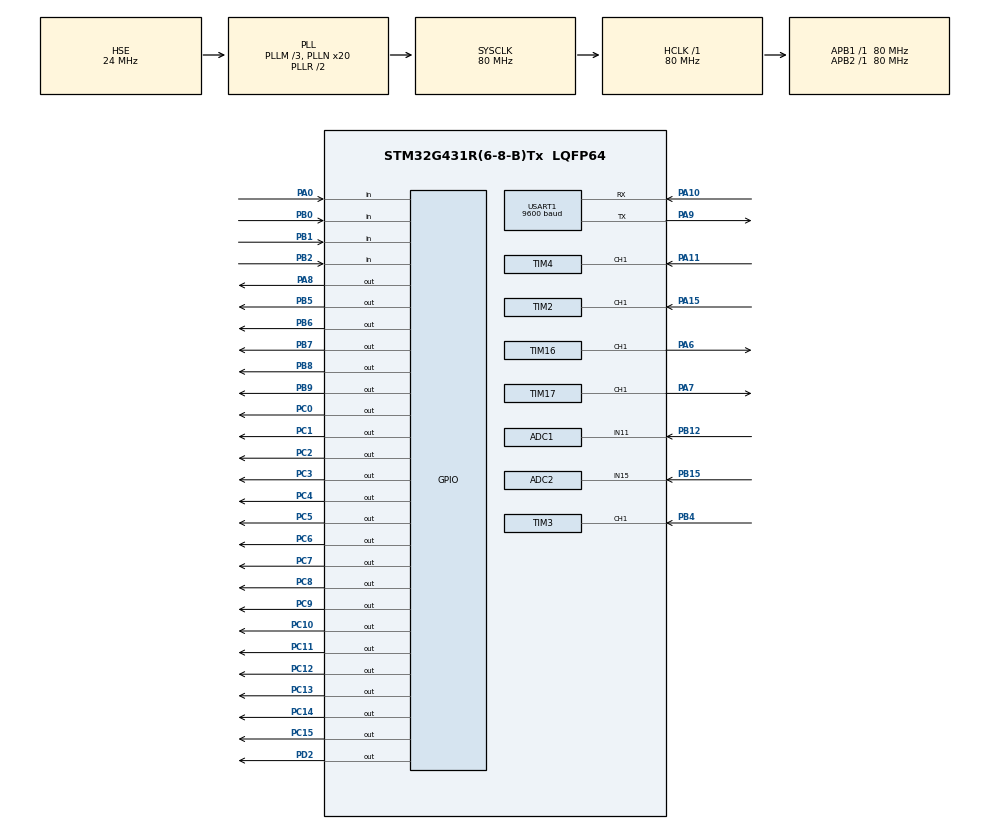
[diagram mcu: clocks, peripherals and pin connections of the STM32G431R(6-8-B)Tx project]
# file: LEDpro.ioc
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ADC1.Channel-2\#ChannelRegularConversion=ADC_CHANNEL_11
ADC1.NbrOfConversionFlag=1
ADC1.OffsetNumber-2\#ChannelRegularConversion=ADC_OFFSET_NONE
ADC1.Rank-2\#ChannelRegularConversion=1
ADC1.SamplingTime-2\#ChannelRegularConversion=ADC_SAMPLETIME_2CYCLES_5
ADC1.master=1
ADC2.Channel-1\#ChannelRegularConversion=ADC_CHANNEL_15
ADC2.NbrOfConversionFlag=1
ADC2.OffsetNumber-1\#ChannelRegularConversion=ADC_OFFSET_NONE
ADC2.Rank-1\#ChannelRegularConversion=1
ADC2.SamplingTime-1\#ChannelRegularConversion=ADC_SAMPLETIME_2CYCLES_5
Mcu.Family=STM32G4
Mcu.Name=STM32G431R(6-8-B)Tx
Mcu.Package=LQFP64
NVIC.PriorityGroup=NVIC_PRIORITYGROUP_4
NVIC.TIM2_IRQn=true\:0\:0\:false\:false\:true\:true\:true\:true
NVIC.TIM3_IRQn=true\:0\:0\:false\:false\:true\:true\:true\:true
NVIC.TIM4_IRQn=true\:0\:0\:false\:false\:true\:true\:true\:true
NVIC.USART1_IRQn=true\:0\:0\:false\:false\:true\:true\:true\:true
PA0.GPIO_PuPd=GPIO_PULLUP
PA0.Signal=GPIO_Input
PA10.Mode=Asynchronous
PA10.Signal=USART1_RX
PA11.Signal=S_TIM4_CH1
PA13.Mode=Serial_Wire
PA13.Signal=SYS_JTMS-SWDIO
PA14.Mode=Serial_Wire
PA14.Signal=SYS_JTCK-SWCLK
PA15.Signal=S_TIM2_CH1
PA6.Signal=S_TIM16_CH1
PA7.Signal=S_TIM17_CH1
PA8.Signal=GPIO_Output
PA9.Mode=Asynchronous
PA9.Signal=USART1_TX
PB0.GPIO_PuPd=GPIO_PULLUP
PB0.Signal=GPIO_Input
PB1.GPIO_PuPd=GPIO_PULLUP
PB1.Signal=GPIO_Input
PB12.Mode=IN11-Single-Ended
PB12.Signal=ADC1_IN11
PB15.Mode=IN15-Single-Ended
PB15.Signal=ADC2_IN15
PB2.GPIO_PuPd=GPIO_PULLUP
PB2.Signal=GPIO_Input
PB4.Signal=S_TIM3_CH1
PB5.Signal=GPIO_Output
PB6.Signal=GPIO_Output
PB7.Signal=GPIO_Output
PB8-BOOT0.Signal=GPIO_Output
PB9.Signal=GPIO_Output
PC0.Signal=GPIO_Output
PC1.Signal=GPIO_Output
PC10.PinState=GPIO_PIN_SET
PC10.Signal=GPIO_Output
PC11.PinState=GPIO_PIN_SET
PC11.Signal=GPIO_Output
PC12.PinState=GPIO_PIN_SET
PC12.Signal=GPIO_Output
PC13.PinState=GPIO_PIN_SET
PC13.Signal=GPIO_Output
PC14-OSC32_IN.PinState=GPIO_PIN_SET
PC14-OSC32_IN.Signal=GPIO_Output
PC15-OSC32_OUT.PinState=GPIO_PIN_SET
PC15-OSC32_OUT.Signal=GPIO_Output
PC2.Signal=GPIO_Output
PC3.Signal=GPIO_Output
PC4.Signal=GPIO_Output
PC5.Signal=GPIO_Output
PC6.Signal=GPIO_Output
PC7.Signal=GPIO_Output
PC8.PinState=GPIO_PIN_SET
PC8.Signal=GPIO_Output
PC9.PinState=GPIO_PIN_SET
PC9.Signal=GPIO_Output
PD2.Signal=GPIO_Output
PF0-OSC_IN.Mode=HSE-External-Oscillator
PF0-OSC_IN.Signal=RCC_OSC_IN
PF1-OSC_OUT.Mode=HSE-External-Oscillator
PF1-OSC_OUT.Signal=RCC_OSC_OUT
ProjectManager.HeapSize=0x200
ProjectManager.StackSize=0x400
ProjectManager.TargetToolchain=MDK-ARM V5.32
RCC.ADC12Freq_Value=80000000
RCC.AHBFreq_Value=80000000
RCC.APB1Freq_Value=80000000
RCC.APB1TimFreq_Value=80000000
RCC.APB2Freq_Value=80000000
RCC.APB2TimFreq_Value=80000000
RCC.CortexFreq_Value=80000000
RCC.EXTERNAL_CLOCK_VALUE=12288000
RCC.HCLKFreq_Value=80000000
RCC.HSE_VALUE=24000000
RCC.HSI48_VALUE=48000000
RCC.HSI_VALUE=16000000
RCC.LSE_VALUE=32768
RCC.PLLM=RCC_PLLM_DIV3
RCC.PLLN=20
RCC.PLLSourceVirtual=RCC_PLLSOURCE_HSE
RCC.SYSCLKFreq_VALUE=80000000
RCC.SYSCLKSource=RCC_SYSCLKSOURCE_PLLCLK
RCC.USBFreq_Value=80000000
RCC.VCOOutputFreq_Value=160000000
SH.S_TIM16_CH1.0=TIM16_CH1,PWM Generation1 CH1
SH.S_TIM17_CH1.0=TIM17_CH1,PWM Generation1 CH1
SH.S_TIM2_CH1.0=TIM2_CH1,Input_Capture1_from_TI1
SH.S_TIM3_CH1.0=TIM3_CH1,Input_Capture1_from_TI1
SH.S_TIM4_CH1.0=TIM4_CH1,Input_Capture1_from_TI1
TIM16.Channel=TIM_CHANNEL_1
TIM16.PeriodNoDither=100-1
TIM16.Prescaler=8000-1
TIM17.Channel=TIM_CHANNEL_1
TIM17.PeriodNoDither=100-1
TIM17.Prescaler=4000-1
TIM2.Channel-Input_Capture1_from_TI1=TIM_CHANNEL_1
TIM2.Channel-Input_Capture2_from_TI1_63=TIM_CHANNEL_2
TIM2.ICPolarity_CH1=TIM_INPUTCHANNELPOLARITY_FALLING
TIM2.Prescaler=80-1
TIM3.Channel-Input_Capture1_from_TI1=TIM_CHANNEL_1
TIM3.Channel-Input_Capture2_from_TI1_63=TIM_CHANNEL_2
TIM3.ICPolarity_CH2=TIM_INPUTCHANNELPOLARITY_FALLING
TIM3.PeriodNoDither=10000-1
TIM3.Prescaler=80-1
TIM4.Channel-Input_Capture1_from_TI1=TIM_CHANNEL_1
TIM4.Channel-Input_Capture2_from_TI1_63=TIM_CHANNEL_2
TIM4.PeriodNoDither=10000-1
TIM4.Prescaler=80-1
USART1.BaudRate=9600
USART1.VirtualMode-Asynchronous=VM_ASYNC
VP_SYS_VS_DBSignals.Mode=DisableDeadBatterySignals
VP_TIM16_VS_ClockSourceINT.Mode=Enable_Timer
VP_TIM17_VS_ClockSourceINT.Mode=Enable_Timer
VP_TIM2_VS_ClockSourceINT.Mode=Internal
VP_TIM2_VS_indirect_ch1.Mode=Input_Capture2_from_TI1_63
VP_TIM3_VS_ClockSourceINT.Mode=Internal
VP_TIM3_VS_indirect_ch1.Mode=Input_Capture2_from_TI1_63
VP_TIM4_VS_ClockSourceINT.Mode=Internal
VP_TIM4_VS_indirect_ch1.Mode=Input_Capture2_from_TI1_63
board=custom

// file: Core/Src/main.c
/* USER CODE BEGIN Header */
/**
  ******************************************************************************
  * @file           : main.c
  * @brief          : Main program body
  ******************************************************************************
  * @attention
  *
  * Copyright (c) 2023 STMicroelectronics.
  * All rights reserved.
  *
  * This software is licensed under terms that can be found in the LICENSE file
  * in the root directory of this software component.
  * If no LICENSE file comes with this software, it is provided AS-IS.
  *
  ******************************************************************************
  */
/* USER CODE END Header */
#include "main.h"
#include "adc.h"
#include "tim.h"
#include "usart.h"
#include "gpio.h"

/* USER CODE BEGIN Includes */
#include "led.h"
#include "lcd.h"
#include "stdio.h"
#include "interrupt.h"
#include "bacd.h"
#include "i2c - hal.h"
#include "string.h"
/* USER CODE END Includes */

/* USER CODE BEGIN PTD */
extern struct keys key[];
extern uint frq1, frq2;
extern uint frp;
extern float duty1,duty2;
extern char rxdata[30];
extern uint8_t rxdat;
extern uchar rx_pointer;

void disp_proc(void);
void key_proc(void);;
void uart_rx_proc();
uchar view=0;
uchar V=3;
uchar pa6_duty=10;
uchar pa7_duty=10;
char car_type[5];
char car_data[5];
char car_time[12];
/* USER CODE END PTD */

void SystemClock_Config(void);
/* USER CODE BEGIN PFP */
void SystemClock_Config(void);
/* USER CODE END PFP */

int main(void)
{

  /* MCU Configuration--------------------------------------------------------*/

  /* Reset of all peripherals, Initializes the Flash interface and the Systick. */
  HAL_Init();

  /* Configure the system clock */
  SystemClock_Config();

  /* Initialize all configured peripherals */
  MX_GPIO_Init();
  MX_TIM3_Init();
  MX_ADC1_Init();
  MX_ADC2_Init();
  MX_USART1_UART_Init();
  MX_TIM16_Init();
  MX_TIM17_Init();
  MX_TIM2_Init();
  MX_TIM4_Init();
  /* USER CODE BEGIN 2 */
	LED_Disp(0X00);
	HAL_UART_Receive_IT(&huart1,&rxdat,1);
	LCD_Init();
	LCD_Clear(Black);
	LCD_SetBackColor(Black);
	LCD_SetTextColor(White);

	HAL_TIM_Base_Start_IT(&htim4);
	HAL_TIM_PWM_Start(&htim16,TIM_CHANNEL_1);
	HAL_TIM_PWM_Start(&htim17,TIM_CHANNEL_1);
	HAL_TIM_PWM_Start(&htim16,TIM_CHANNEL_2);
	HAL_TIM_PWM_Start(&htim17,TIM_CHANNEL_2);
	HAL_TIM_IC_Start_IT(&htim2,TIM_CHANNEL_1);
	HAL_TIM_IC_Start_IT(&htim3,TIM_CHANNEL_1);
	HAL_TIM_IC_Start_IT(&htim2,TIM_CHANNEL_2);
	HAL_TIM_IC_Start_IT(&htim3,TIM_CHANNEL_2);
	HAL_TIM_IC_Start_IT(&htim4,TIM_CHANNEL_1);
	HAL_TIM_IC_Start_IT(&htim4,TIM_CHANNEL_2);
	__HAL_TIM_SetCompare(&htim16,TIM_CHANNEL_1,pa6_duty);//设置初始pwm频率
	__HAL_TIM_SetCompare(&htim17,TIM_CHANNEL_1,pa7_duty);
  /* USER CODE END 2 */

  /* Infinite loop */
  while (1)
  {

    /* USER CODE BEGIN 3 */
	  key_proc();
		disp_proc();
		if (rx_pointer!=0)
		{
			int temp=rx_pointer;
			HAL_Delay(1);
			if (temp==rx_pointer)
			{
				uart_rx_proc();
			}

		}//防止接受不完整；

//		LED_Disp(0X00);
//		HAL_Delay(800);
//		LED_Disp(0XFF);
//		HAL_Delay(800);
//		LED_Disp(0X7F);
//		HAL_Delay(800);
//		LED_Disp(0X3F);
//		HAL_Delay(800);
//		LED_Disp(0X1F);z
//		HAL_Delay(800);
//		LED_Disp(0X0F);
//		HAL_Delay(800);
//		LED_Disp(0X07);
//		HAL_Delay(800);
//		LED_Disp(0X03);
//		HAL_Delay(800);
//		LED_Disp(0X01);
//		HAL_Delay(800);
	}

  /* USER CODE END 3 */
}

void SystemClock_Config(void)
{
  RCC_OscInitTypeDef RCC_OscInitStruct = {0};
  RCC_ClkInitTypeDef RCC_ClkInitStruct = {0};

  /** Configure the main internal regulator output voltage
  */
  HAL_PWREx_ControlVoltageScaling(PWR_REGULATOR_VOLTAGE_SCALE1);

  /** Initializes the RCC Oscillators according to the specified parameters
  * in the RCC_OscInitTypeDef structure.
  */
  RCC_OscInitStruct.OscillatorType = RCC_OSCILLATORTYPE_HSE;
  RCC_OscInitStruct.HSEState = RCC_HSE_ON;
  RCC_OscInitStruct.PLL.PLLState = RCC_PLL_ON;
  RCC_OscInitStruct.PLL.PLLSource = RCC_PLLSOURCE_HSE;
  RCC_OscInitStruct.PLL.PLLM = RCC_PLLM_DIV3;
  RCC_OscInitStruct.PLL.PLLN = 20;
  RCC_OscInitStruct.PLL.PLLP = RCC_PLLP_DIV2;
  RCC_OscInitStruct.PLL.PLLQ = RCC_PLLQ_DIV2;
  RCC_OscInitStruct.PLL.PLLR = RCC_PLLR_DIV2;
  if (HAL_RCC_OscConfig(&RCC_OscInitStruct) != HAL_OK)
  {
    Error_Handler();
  }

  /** Initializes the CPU, AHB and APB buses clocks
  */
  RCC_ClkInitStruct.ClockType = RCC_CLOCKTYPE_HCLK|RCC_CLOCKTYPE_SYSCLK
                              |RCC_CLOCKTYPE_PCLK1|RCC_CLOCKTYPE_PCLK2;
  RCC_ClkInitStruct.SYSCLKSource = RCC_SYSCLKSOURCE_PLLCLK;
  RCC_ClkInitStruct.AHBCLKDivider = RCC_SYSCLK_DIV1;
  RCC_ClkInitStruct.APB1CLKDivider = RCC_HCLK_DIV1;
  RCC_ClkInitStruct.APB2CLKDivider = RCC_HCLK_DIV1;

  if (HAL_RCC_ClockConfig(&RCC_ClkInitStruct, FLASH_LATENCY_2) != HAL_OK)
  {
    Error_Handler();
  }
}

/* USER CODE BEGIN 4 */

void key_proc(void)
{
		if(key[0].single_flag==1)
		{
			view++;
			if(view ==3)view = 0;
			LCD_Clear(Black);
			key[0].single_flag=0;
		}
		if(key[1].single_flag==1)
		{
			pa6_duty+=10;
			if(pa6_duty>=100)
			{
				pa6_duty=10;
				__HAL_TIM_SetCompare(&htim16,TIM_CHANNEL_1,pa6_duty);
			}
			key[1].single_flag=0;
		}
		if(key[2].single_flag==1)
		{
			pa7_duty+=10;
			if(pa7_duty>=100)
			{
				pa7_duty=10;
				__HAL_TIM_SetCompare(&htim17,TIM_CHANNEL_1,pa7_duty);
			}
				key[2].single_flag=0;
		}
			if(key[3].single_flag==1)
		{
			uchar frq_h=frq1>>8;
			uchar frq_l=frq1&0xff;
			eeprom_write(1,frq_h);
			HAL_Delay(10);
			eeprom_write(2,frq_l);
			key[3].single_flag=0;
		}
}
void disp_proc(void)
{
	if(view==0)
	{

		char text[30];
		sprintf(text,"      Data     ");
		LCD_DisplayStringLine(Line1, (uint8_t *)text);
		sprintf(text,"     FRQ1=%d    ",frq1);
		LCD_DisplayStringLine(Line2, (uint8_t *)text);
		sprintf(text,"     duty1=%.3f   ",duty1);
		LCD_DisplayStringLine(Line3, (uint8_t *)text);
		sprintf(text,"     FRQ2=%d   ",frq2);
		LCD_DisplayStringLine(Line4, (uint8_t *)text);
		sprintf(text,"     duty2=%.3f   ",duty2);
		LCD_DisplayStringLine(Line5, (uint8_t *)text);
		sprintf(text,"     V1:=%.2f   ",getADC(&hadc1));
		LCD_DisplayStringLine(Line6, (uint8_t *)text);
		sprintf(text,"     V2:=%.2f   ",getADC(&hadc2));
		LCD_DisplayStringLine(Line7, (uint8_t *)text);

		uint eep_temp=(eeprom_read(1)<<8)+eeprom_read(2);
		sprintf(text,"     FRQ_eep=%d      ",eep_temp);
		LCD_DisplayStringLine(Line8, (uint8_t *)text);	;
	}
	if(view==1)
	{

		char text[30];
		sprintf(text,"      Para      ");
		LCD_DisplayStringLine(Line1, (uint8_t *)text);
		sprintf(text,"    PA6:%d    ",pa6_duty);
		LCD_DisplayStringLine(Line2, (uint8_t *)text);
		sprintf(text,"    PA7:%d     ",pa7_duty);
		LCD_DisplayStringLine(Line4, (uint8_t *)text);

	}
	if(view==2)
	{

		char text[30];
		sprintf(text,"      Car_msg      ");
		LCD_DisplayStringLine(Line1, (uint8_t *)text);
		sprintf(text,"car_type=%s      ",car_type);
		LCD_DisplayStringLine(Line2, (uint8_t *)text);
		sprintf(text,"car_data=%s     ",car_data);
		LCD_DisplayStringLine(Line3, (uint8_t *)text);
		sprintf(text,"car_time=%s      ",car_time);
		LCD_DisplayStringLine(Line4, (uint8_t *)text);

	}
}

void uart_rx_proc()
{
	if(rx_pointer>0)
	{
		if (rx_pointer==22)
		{
			sscanf(rxdata,"%4s:%4s:%12s",car_type,car_data,car_time);
		}
		else
		{
			char temp[20];
			sprintf(temp,"Error:%d\r\n",rx_pointer);
			HAL_UART_Transmit(&huart1,(uint8_t*)temp,strlen(temp),50);//50为超时时间；

		}
		rx_pointer=0;memset(rxdata,0,30);
	}
}
/* USER CODE END 4 */

void Error_Handler(void)
{
  /* USER CODE BEGIN Error_Handler_Debug */
  /* User can add his own implementation to report the HAL error return state */
  __disable_irq();
  while (1)
  {
		;
  }
  /* USER CODE END Error_Handler_Debug */
}
